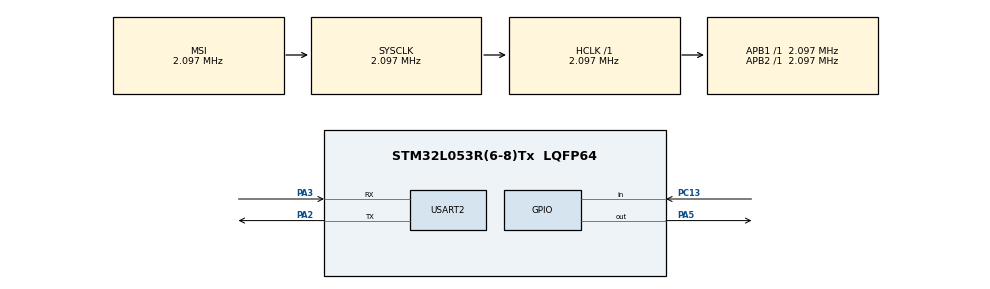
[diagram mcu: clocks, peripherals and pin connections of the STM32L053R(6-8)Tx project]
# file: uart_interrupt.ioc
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Mcu.Family=STM32L0
Mcu.Name=STM32L053R(6-8)Tx
Mcu.Package=LQFP64
NVIC.USART2_IRQn=true\:0\:0\:false\:false\:true\:true\:true\:true
PA2.Mode=Asynchronous
PA2.Signal=USART2_TX
PA3.Mode=Asynchronous
PA3.Signal=USART2_RX
PA5.Signal=GPIO_Output
PC13.Signal=GPIO_Input
ProjectManager.HeapSize=0x200
ProjectManager.StackSize=0x400
ProjectManager.TargetToolchain=STM32CubeIDE
RCC.AHBFreq_Value=2097000
RCC.APB1Freq_Value=2097000
RCC.APB1TimFreq_Value=2097000
RCC.APB2Freq_Value=2097000
RCC.APB2TimFreq_Value=2097000
RCC.HSE_VALUE=8000000
RCC.HSI16_VALUE=16000000
RCC.HSI48_VALUE=48000000
RCC.HSI_VALUE=16000000
RCC.LSE_VALUE=32768
RCC.MSI_VALUE=2097000
RCC.SYSCLKFreq_VALUE=2097000
RCC.VCOOutputFreq_Value=48000000
USART2.VirtualMode-Asynchronous=VM_ASYNC
board=custom

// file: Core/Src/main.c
/* USER CODE BEGIN Header */
/**
  ******************************************************************************
  * @file           : main.c
  * @brief          : Main program body
  ******************************************************************************
  * @attention
  *
  * Copyright (c) 2023 STMicroelectronics.
  * All rights reserved.
  *
  * This software is licensed under terms that can be found in the LICENSE file
  * in the root directory of this software component.
  * If no LICENSE file comes with this software, it is provided AS-IS.
  *
  ******************************************************************************
  */
/* USER CODE END Header */
#include "main.h"

UART_HandleTypeDef huart2;

void SystemClock_Config(void);
static void MX_GPIO_Init(void);
static void MX_USART2_UART_Init(void);

/* USER CODE BEGIN 0 */

//void USART2_IRQHandler(void) {
//	HAL_UART_IRQHandler(&huart2);
//}

FlagStatus UartReady = SET;

uint8_t WELCOME_MSG[42] = "\r\nWelcome to the Nucleo management console";
uint8_t MAIN_MENU[132] =
		"\r\nSelect the option you are interested in:" // 42
	    "\r\n\t1. Toggle LD2 LED" // 20
		"\r\n\t2. Read USER BUTTON status" // 29
		"\r\n\t3. Clear screen and print this message"; //41
uint8_t PROMPT[4] ="\r\n> ";

void HAL_UART_RxCpltCallback(UART_HandleTypeDef *UartHandle) {
	/* Set transmission flag: transfer complete*/
	UartReady = SET;
}

void printWelcomeMessage(void) {
//	char *strings[] = {"\033[0;0H", "\033[2J", WELCOME_MSG, MAIN_MENU, PROMPT};
//	for (uint8_t i = 0; i < 5; i++) {
//		HAL_UART_Transmit_IT(&huart2, (uint8_t*)strings[i], strlen(strings[i]));
//		while (HAL_UART_GetState(&huart2) == HAL_UART_STATE_BUSY_TX ||
//			   HAL_UART_GetState(&huart2) == HAL_UART_STATE_BUSY_TX_RX);
//	}
	HAL_UART_Transmit_IT(&huart2, (uint8_t*)"\033[0;0H", strlen("\033[0;0H"));
	HAL_UART_Transmit_IT(&huart2, (uint8_t*)"\033[2J", strlen("\033[2J"));
	HAL_UART_Transmit_IT(&huart2, (uint8_t*)WELCOME_MSG, strlen(WELCOME_MSG));
	HAL_UART_Transmit_IT(&huart2, (uint8_t*)MAIN_MENU, strlen(MAIN_MENU));
	HAL_UART_Transmit_IT(&huart2, (uint8_t*)PROMPT, strlen(PROMPT));

}

void printPrompt(void) {
	char *strings[] = {"\n\r> "};
	for (uint8_t i = 0; i < 1; i++) {
			HAL_UART_Transmit_IT(&huart2, (uint8_t*)strings[i], strlen(strings[i]));
	}
	while (HAL_UART_GetState(&huart2) == HAL_UART_STATE_BUSY_TX ||
		   HAL_UART_GetState(&huart2) == HAL_UART_STATE_BUSY_TX_RX);
}

int8_t readUserInput(void) {
	int8_t retVal = -1;
	char readBuf[1];
	if(UartReady == SET) {
		UartReady = RESET;
		HAL_UART_Receive_IT(&huart2, (uint8_t*)readBuf, 1);
		retVal = atoi(readBuf);
	}
	return retVal;
}

uint8_t processUserInput(uint8_t opt) {
	char msg[30];
	if(!opt || opt > 3)
		return 0;
	sprintf(msg, "%d", opt);
	HAL_UART_Transmit(&huart2, (uint8_t*)msg, strlen(msg), HAL_MAX_DELAY);
	switch(opt) {
		case 1:
			HAL_GPIO_TogglePin(GPIOA, GPIO_PIN_5);
			break;
		case 2:
			sprintf(msg, "\r\nUSER BUTTON status: %s",
					HAL_GPIO_ReadPin(GPIOC, GPIO_PIN_13) == GPIO_PIN_RESET ? "PRESSED" : "RELEASED");
			HAL_UART_Transmit(&huart2, (uint8_t*)msg, strlen(msg), HAL_MAX_DELAY);
			break;
		case 3:
			return 3;
	};
	return 0;
}

/* USER CODE END 0 */

int main(void)
{

  /* MCU Configuration--------------------------------------------------------*/

  /* Reset of all peripherals, Initializes the Flash interface and the Systick. */
  HAL_Init();

  /* Configure the system clock */
  SystemClock_Config();

  /* Initialize all configured peripherals */
  MX_GPIO_Init();
  MX_USART2_UART_Init();
  /* USER CODE BEGIN 2 */

  HAL_NVIC_SetPriority(USART2_IRQn, 0, 0);
  HAL_NVIC_EnableIRQ(USART2_IRQn);

  uint8_t START;
  int8_t opt = 0;

printMessage:
  START = 0;
  printWelcomeMessage();

start:
  if(START == 1)
    printPrompt();
  START = 1;

  while(1) {
	opt = readUserInput();
	if(opt == 3) {
	  goto printMessage;
    }
	if(opt > 0) {
	  processUserInput((uint8_t)opt);
	  goto start;
	}
	// performCriticalTasks();
  }

  /* USER CODE END 2 */

  /* Infinite loop */
  /* USER CODE BEGIN WHILE */
//  while (1)
//  {

    /* USER CODE END WHILE */

    /* USER CODE BEGIN 3 */
//  }
  /* USER CODE END 3 */
}

void SystemClock_Config(void)
{
  RCC_OscInitTypeDef RCC_OscInitStruct = {0};
  RCC_ClkInitTypeDef RCC_ClkInitStruct = {0};
  RCC_PeriphCLKInitTypeDef PeriphClkInit = {0};

  /** Configure the main internal regulator output voltage
  */
  __HAL_PWR_VOLTAGESCALING_CONFIG(PWR_REGULATOR_VOLTAGE_SCALE1);

  /** Initializes the RCC Oscillators according to the specified parameters
  * in the RCC_OscInitTypeDef structure.
  */
  RCC_OscInitStruct.OscillatorType = RCC_OSCILLATORTYPE_MSI;
  RCC_OscInitStruct.MSIState = RCC_MSI_ON;
  RCC_OscInitStruct.MSICalibrationValue = 0;
  RCC_OscInitStruct.MSIClockRange = RCC_MSIRANGE_5;
  RCC_OscInitStruct.PLL.PLLState = RCC_PLL_NONE;
  if (HAL_RCC_OscConfig(&RCC_OscInitStruct) != HAL_OK)
  {
    Error_Handler();
  }

  /** Initializes the CPU, AHB and APB buses clocks
  */
  RCC_ClkInitStruct.ClockType = RCC_CLOCKTYPE_HCLK|RCC_CLOCKTYPE_SYSCLK
                              |RCC_CLOCKTYPE_PCLK1|RCC_CLOCKTYPE_PCLK2;
  RCC_ClkInitStruct.SYSCLKSource = RCC_SYSCLKSOURCE_MSI;
  RCC_ClkInitStruct.AHBCLKDivider = RCC_SYSCLK_DIV1;
  RCC_ClkInitStruct.APB1CLKDivider = RCC_HCLK_DIV1;
  RCC_ClkInitStruct.APB2CLKDivider = RCC_HCLK_DIV1;

  if (HAL_RCC_ClockConfig(&RCC_ClkInitStruct, FLASH_LATENCY_0) != HAL_OK)
  {
    Error_Handler();
  }
  PeriphClkInit.PeriphClockSelection = RCC_PERIPHCLK_USART2;
  PeriphClkInit.Usart2ClockSelection = RCC_USART2CLKSOURCE_PCLK1;
  if (HAL_RCCEx_PeriphCLKConfig(&PeriphClkInit) != HAL_OK)
  {
    Error_Handler();
  }
}

static void MX_USART2_UART_Init(void)
{

  huart2.Instance = USART2;
  huart2.Init.BaudRate = 115200;
  huart2.Init.WordLength = UART_WORDLENGTH_8B;
  huart2.Init.StopBits = UART_STOPBITS_1;
  huart2.Init.Parity = UART_PARITY_NONE;
  huart2.Init.Mode = UART_MODE_TX_RX;
  huart2.Init.HwFlowCtl = UART_HWCONTROL_NONE;
  huart2.Init.OverSampling = UART_OVERSAMPLING_16;
  huart2.Init.OneBitSampling = UART_ONE_BIT_SAMPLE_DISABLE;
  huart2.AdvancedInit.AdvFeatureInit = UART_ADVFEATURE_NO_INIT;
  if (HAL_UART_Init(&huart2) != HAL_OK)
  {
    Error_Handler();
  }

}

static void MX_GPIO_Init(void)
{
  GPIO_InitTypeDef GPIO_InitStruct = {0};

  /* GPIO Ports Clock Enable */
  __HAL_RCC_GPIOC_CLK_ENABLE();
  __HAL_RCC_GPIOA_CLK_ENABLE();

  /*Configure GPIO pin Output Level */
  HAL_GPIO_WritePin(GPIOA, GPIO_PIN_5, GPIO_PIN_RESET);

  /*Configure GPIO pin : PC13 */
  GPIO_InitStruct.Pin = GPIO_PIN_13;
  GPIO_InitStruct.Mode = GPIO_MODE_INPUT;
  GPIO_InitStruct.Pull = GPIO_NOPULL;
  HAL_GPIO_Init(GPIOC, &GPIO_InitStruct);

  /*Configure GPIO pin : PA5 */
  GPIO_InitStruct.Pin = GPIO_PIN_5;
  GPIO_InitStruct.Mode = GPIO_MODE_OUTPUT_PP;
  GPIO_InitStruct.Pull = GPIO_NOPULL;
  GPIO_InitStruct.Speed = GPIO_SPEED_FREQ_LOW;
  HAL_GPIO_Init(GPIOA, &GPIO_InitStruct);

}

void Error_Handler(void)
{
  __disable_irq();
  while (1)
  {
  }
}
